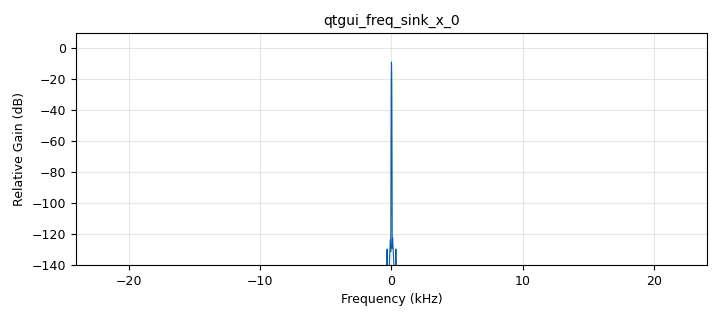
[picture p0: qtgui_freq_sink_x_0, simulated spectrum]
options:
  parameters:
    generate_options: qt_gui
    id: carrier_tracker
    output_language: python
    title: Not titled yet
  states: {}

blocks:
- name: samp_rate
  id: variable
  parameters:
    value: '48000'
  states: {}
- name: scale_factor
  id: variable
  parameters:
    value: two_pi  / samp_rate
  states: {}
- name: two_pi
  id: variable
  parameters:
    value: '6.28318530718'
  states: {}
- name: analog_sig_source_x_0
  id: analog_sig_source_x
  parameters:
    amp: '10000'
    freq: 1/60
    offset: '0'
    phase: '0'
    samp_rate: samp_rate
    type: complex
    waveform: analog.GR_SAW_WAVE
  states: {}
- name: blocks_add_const_vxx_0
  id: blocks_add_const_vxx
  parameters:
    const: '10000'
    type: complex
  states: {}
- name: blocks_complex_to_float_0
  id: blocks_complex_to_float
  parameters: {}
  states: {}
- name: blocks_multiply_const_vxx_0
  id: blocks_multiply_const_vxx
  parameters:
    const: scale_factor
    type: complex
  states: {}
- name: blocks_throttle2_0
  id: blocks_throttle2
  parameters:
    samples_per_second: samp_rate
    type: complex
  states: {}
- name: blocks_vco_c_0
  id: blocks_vco_c
  parameters:
    amplitude: '1'
    samp_rate: samp_rate
    sensitivity: '1'
  states: {}
- name: qtgui_freq_sink_x_0
  id: qtgui_freq_sink_x
  parameters:
    bw: samp_rate
    fc: '0'
    fftsize: '4096'
    type: complex
  states: {}

connections:
- [analog_sig_source_x_0, '0', blocks_add_const_vxx_0, '0']
- [blocks_add_const_vxx_0, '0', blocks_multiply_const_vxx_0, '0']
- [blocks_complex_to_float_0, '0', blocks_vco_c_0, '0']
- [blocks_multiply_const_vxx_0, '0', blocks_throttle2_0, '0']
- [blocks_throttle2_0, '0', blocks_complex_to_float_0, '0']
- [blocks_vco_c_0, '0', qtgui_freq_sink_x_0, '0']

metadata:
  file_format: 1
  grc_version: 3.10.9.2
